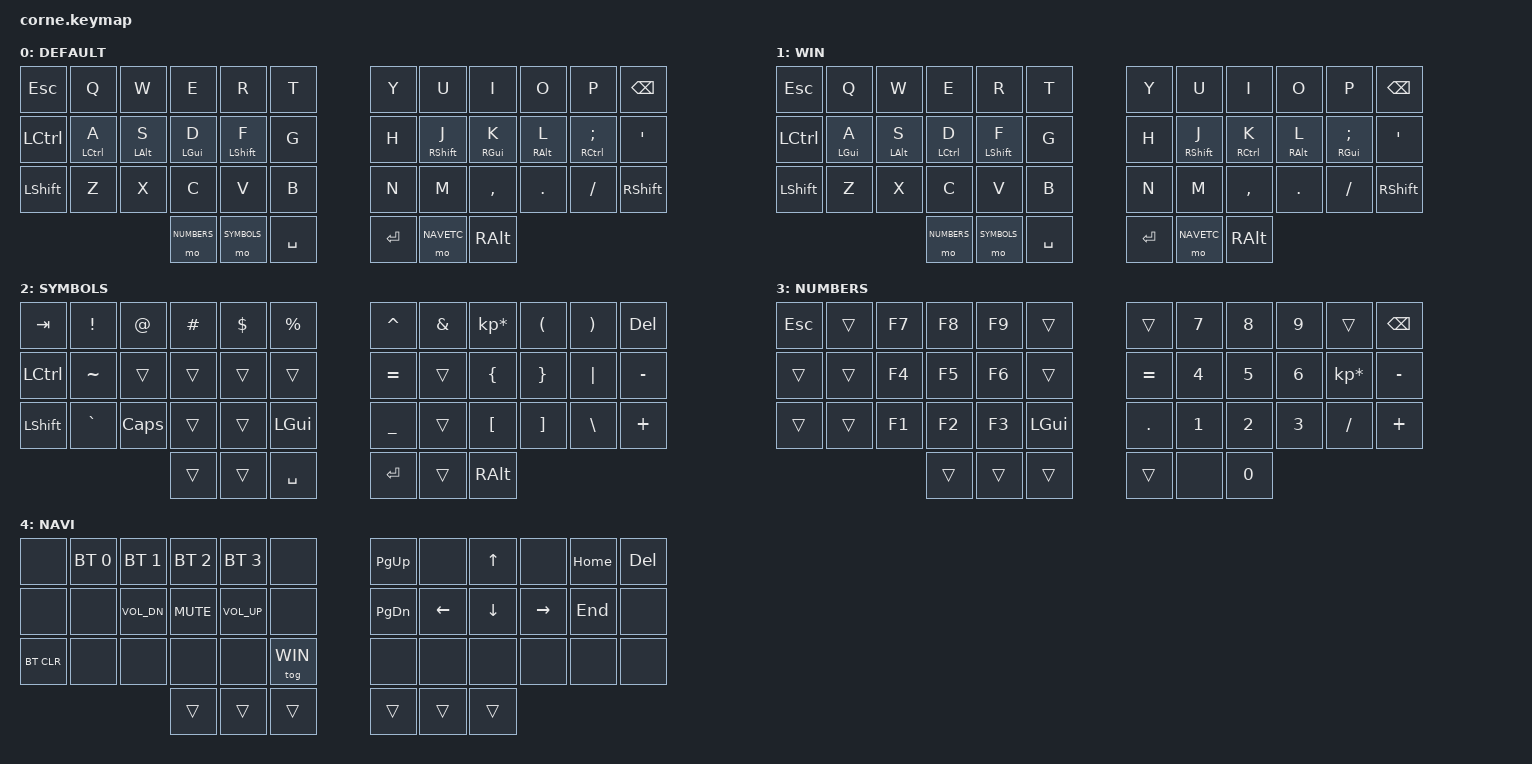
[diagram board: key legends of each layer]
/*
 * Copyright (c) 2020 The ZMK Contributors
 *
 * SPDX-License-Identifier: MIT
 */

#include <behaviors.dtsi>
#include <dt-bindings/zmk/keys.h>
#include <dt-bindings/zmk/bt.h>

#define DEFAULT 0
#define WIN 1
#define SYMBOLS 2
#define NUMBERS 3
#define NAVETC 4

/ {
        behaviors {
            hm: homerow_mods {
                compatible = "zmk,behavior-hold-tap";
                label = "HOMEROW_MODS";
                #binding-cells = <2>;
                tapping_term_ms = <150>;
                flavor = "tap-preferred";
                bindings = <&kp>, <&kp>;
            };
        };
};

/ {
        keymap {
                compatible = "zmk,keymap";

                default_layer {
                // label to be shown on OLED screen:
                label = " DEFAULT";
// -----------------------------------------------------------------------------------------
// |  ESC |  Q  |  W  |  E  |  R  |  T  |   |  Y  |  U   |  I  |  O  |  P  | BKSP |
// | CTRL |  A  |  S  |  D  |  F  |  G  |   |  H  |  J   |  K  |  L  |  ;  |  '   |
// | SHFT |  Z  |  X  |  C  |  V  |  B  |   |  N  |  M   |  ,  |  .  |  /  | SHFT |
//                    | NUM | SYMB| SPC |   | ENT | NAVETC  | ALT |
                        bindings = <
   &kp ESC   &kp Q &kp W &kp E &kp R &kp T                           &kp Y &kp U  &kp I     &kp O   &kp P    &kp BSPC
   &kp LCTRL &hm LCTRL A &hm LALT S &hm LGUI D &hm LSHFT F &kp G     &kp H &hm RSHFT J &hm RGUI K &hm RALT L &hm RCTRL SEMI &kp SQT
   &kp LSHFT &kp Z &kp X &kp C &kp V &kp B                           &kp N &kp M  &kp COMMA &kp DOT &kp FSLH &kp RSHFT
                  &mo NUMBERS &mo SYMBOLS &kp SPACE                  &kp RET &mo NAVETC &kp RALT
                        >;
                };

                windows_layer {
                // label to be shown on OLED screen:
                label = " WIN";
// -----------------------------------------------------------------------------------------
// |  ESC |  Q  |  W  |  E  |  R  |  T  |   |  Y  |  U   |  I  |  O  |  P  | BKSP |
// | CTRL |  A  |  S  |  D  |  F  |  G  |   |  H  |  J   |  K  |  L  |  ;  |  '   |
// | SHFT |  Z  |  X  |  C  |  V  |  B  |   |  N  |  M   |  ,  |  .  |  /  | SHFT |
//                    | NUM | SYMB| SPC |   | ENT | NAVETC  | ALT |
                        bindings = <
   &kp ESC   &kp Q &kp W &kp E &kp R &kp T                           &kp Y &kp U  &kp I     &kp O   &kp P    &kp BSPC
   &kp LCTRL &hm LGUI A &hm LALT S &hm LCTRL D &hm LSHFT F &kp G     &kp H &hm RSHFT J &hm RCTRL K &hm RALT L &hm RGUI SEMI &kp SQT
   &kp LSHFT &kp Z &kp X &kp C &kp V &kp B                           &kp N &kp M  &kp COMMA &kp DOT &kp FSLH &kp RSHFT
                  &mo NUMBERS &mo SYMBOLS &kp SPACE                  &kp RET &mo NAVETC &kp RALT
                        >;
                };

                symbols_layer {
                // label to be shown on OLED screen:
                label = " SYMBOLS";
// -----------------------------------------------------------------------------------------
// |  TAB |  !  |   @  |  #  |  $  |  %  |   |  ^  |  &  |  *  |  (  |  )  | DEL  |
// | CTRL |  ~  |      |     |     |     |   |  =  |     |  {  |  }  | "|" |  -   |
// | SHFT |  `  | CAPS |     |     | GUI |   |  _  |     |  [  |  ]  |  \  |  +   |
//                     |     |     | SPC |   | ENT |     | ALT |
                        bindings = <
   &kp TAB   &kp EXCL  &kp AT   &kp HASH  &kp DLLR  &kp PRCNT      &kp CARET &kp AMPS  &kp KP_MULTIPLY &kp LPAR &kp RPAR &kp DEL
   &kp LCTRL &kp TILDE &trans   &trans    &trans    &trans         &kp EQUAL &trans    &kp LBRC        &kp RBRC &kp PIPE &kp MINUS
   &kp LSHFT &kp GRAVE &kp CAPS &trans    &trans    &kp LGUI       &kp UNDER &trans    &kp LBKT        &kp RBKT &kp BSLH &kp PLUS
                                &trans    &trans    &kp SPACE      &kp RET &trans &kp RALT
                        >;
                };

                numbers_layer {
                // label to be shown on OLED screen:
                label = " NUMBERS";
// -----------------------------------------------------------------------------------------
// | ESC |      |  F7  |  F8   |  F9   |       |   |       |  7  |  8  |  9  |     | BKSP|
// |     |      |  F4  |  F5   |  F6   |       |   |   =   |  4  |  5  |  6  |  *  |  -  |
// |     |      |  F1  |  F2   |  F3   |  GUI  |   |   .   |  1  |  2  |  3  |  /  |  +  |
//                     | trans | trans | trans |   | trans |     |  0  |
                        bindings = <
   &kp ESC  &trans &kp F7 &kp F8 &kp F9 &trans       &trans    &kp N7 &kp N8 &kp N9 &trans          &kp BSPC
   &trans   &trans &kp F4 &kp F5 &kp F6 &trans       &kp EQUAL &kp N4 &kp N5 &kp N6 &kp KP_MULTIPLY &kp MINUS
   &trans   &trans &kp F1 &kp F2 &kp F3 &kp LGUI     &kp DOT   &kp N1 &kp N2 &kp N3 &kp FSLH        &kp PLUS
                          &trans &trans &trans       &trans &none &kp N0 
                        >;
                };

                navi_layer {
                // label to be shown on OLED screen:
                label = " NAVI";
// -----------------------------------------------------------------------------------------
// |        | BT_SEL 0 | BT_SEL 1 | BT_SEL 2 | BT_SEL 3 |       |    | PG_UP |      | UP   |       | HOME | DEL|
// |        |          | C_VOL_DN | K_MUTE   | C_VOL_UP |       |    | PG_DN | LEFT | DOWN | RIGHT | END  |    |
// | BT_CLR |          |          |          |          |tog WIN|    |       |      |      |       |      |    |
//                     |          | trans    | trans    | trans |    | trans | trans| trans|
                        bindings = <
   &none      &bt BT_SEL 0 &bt BT_SEL 1 &bt BT_SEL 2 &bt BT_SEL 3 &none       &kp PG_UP  &none    &kp UP   &none     &kp HOME  &kp DEL
   &none      &none        &kp C_VOL_DN &kp K_MUTE   &kp C_VOL_UP &none       &kp PG_DN  &kp LEFT &kp DOWN &kp RIGHT &kp END   &none
   &bt BT_CLR &none        &none        &none        &none        &tog WIN    &none      &none    &none    &none     &none     &none 
                                                      &trans &trans &trans    &trans &trans &trans 
                        >;
                };

        };
};
